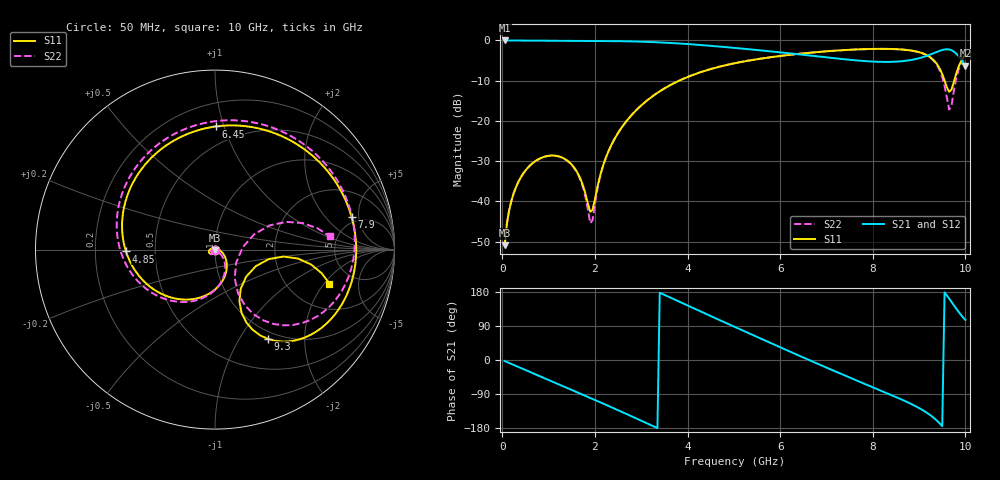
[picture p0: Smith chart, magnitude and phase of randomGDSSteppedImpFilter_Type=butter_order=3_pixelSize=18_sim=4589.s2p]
! freq	dB(S11)	phase(S11)	dB(S12)	phase(S12)
!  dB(S21)	phase(S21)	dB(S22)	phase(S22)
!S-par simulation data
#  GHz  S  DB  R 50
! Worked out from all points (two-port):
!   200 points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, 50 MHz to 10 GHz, reference 50 ohm
!   highest |S21| = -0.01 dB at 50 MHz (marker M1); lowest = -6.3 dB at 10 GHz (marker M2)
!   |S21| within 3 dB of the highest: start of sweep to 6.043 GHz; 9.349 GHz to 9.775 GHz (426.5 MHz wide, 4.46 % of centre)
!   lowest |S11| = -50.9 dB at 50 MHz (marker M3), VSWR 1.01, Z = 50 - j0.284 ohm
!   |S11| at or under -10 dB: start of sweep to 3.819 GHz; 9.552 GHz to 9.758 GHz (206.1 MHz wide, 2.13 % of centre)
!   |S22| runs from -51.1 to -2.1 dB; largest |S21 - S12| = 0
!   S11 on the Smith chart (normalised r, x): 50 MHz: 1.00, -0.01; 4.85 GHz: 0.34, -0.01; 6.45 GHz: 0.36, +0.94; 7.9 GHz: 4.26, +4.04; 9.3 GHz: 0.89, -1.34; 10 GHz: 3.33, -2.27
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0.05  -50.92 -86.9  -0.01 -2.7  -0.01 -2.7  -51.10 -84.0
0.25  -37.83 -102.6  -0.02 -13.2  -0.02 -13.2  -37.80 -100.9
0.7  -30.09 -129.6  -0.05 -36.7  -0.05 -36.7  -30.09 -125.0
1.35  -29.43 -169.5  -0.09 -70.8  -0.09 -70.8  -29.51 -155.9
1.75  -36.29 151.5  -0.11 -92.0  -0.11 -92.0  -36.75 -164.0
1.9  -42.55 93.6  -0.12 -100.0  -0.12 -100.0  -45.39 -120.4
2.15  -32.06 -5.9  -0.13 -113.4  -0.13 -113.4  -32.25 -37.1
2.4  -24.97 -29.8  -0.16 -127.0  -0.16 -127.0  -24.97 -43.3
3.4  -12.64 -93.3  -0.49 177.5  -0.49 177.5  -12.62 -92.6
4.2  -8.22 -140.8  -1.06 132.7  -1.06 132.7  -8.19 -134.8
4.85  -6.09 -178.8  -1.68 96.6  -1.68 96.6  -6.06 -168.8
5.05  -5.59 169.6  -1.89 85.6  -1.89 85.6  -5.57 -179.3
6.45  -3.27 89.8  -3.51 9.3  -3.51 9.3  -3.28 107.8
6.7  -2.99 76.0  -3.82 -4.1  -3.82 -4.1  -3.00 94.7
7.9  -2.13 13.6  -5.18 -66.8  -5.18 -66.8  -2.15 32.6
8.35  -2.10 -8.4  -5.33 -89.8  -5.33 -89.8  -2.11 9.6
8.85  -2.54 -33.4  -4.81 -117.3  -4.81 -117.3  -2.56 -17.5
9.3  -4.74 -59.3  -3.23 -151.0  -3.23 -151.0  -4.88 -47.8
9.5  -8.36 -67.2  -2.37 -174.5  -2.37 -174.5  -9.10 -61.9
9.65  -12.77 -40.9  -2.25 162.0  -2.25 162.0  -17.18 -31.6
9.8  -8.32 -5.8  -3.24 135.8  -3.24 135.8  -9.59 23.9
10  -3.54 -16.6  -6.26 105.9  -6.26 105.9  -3.81 6.5
